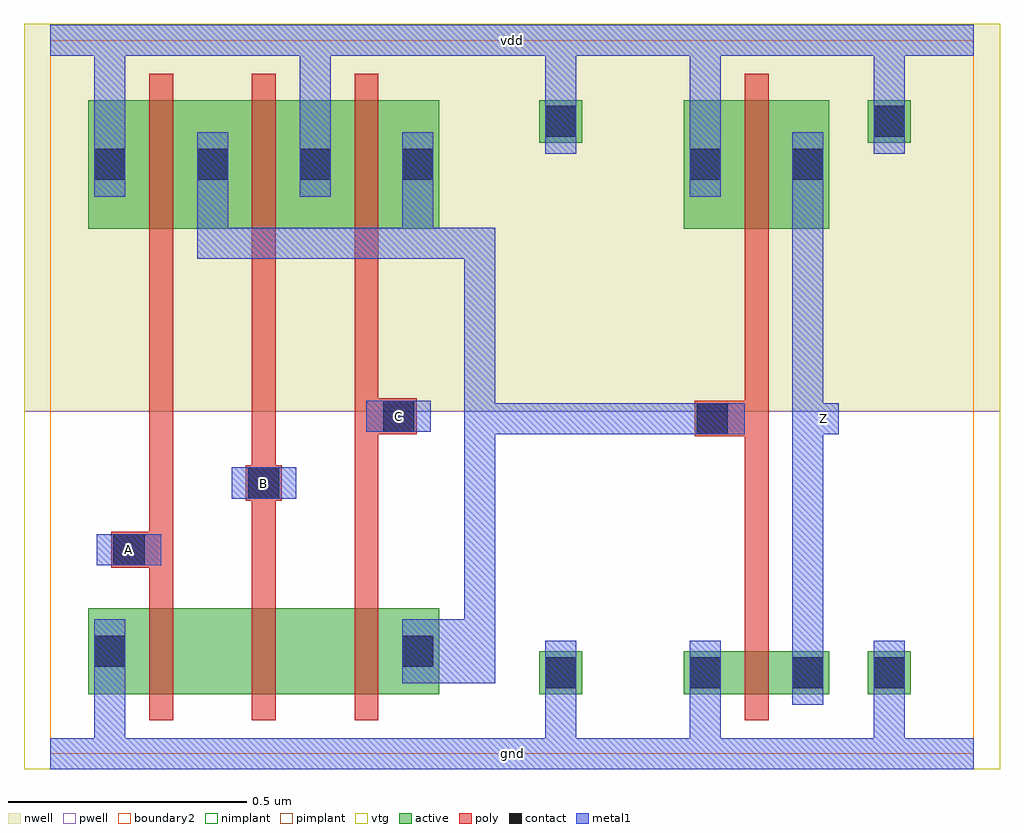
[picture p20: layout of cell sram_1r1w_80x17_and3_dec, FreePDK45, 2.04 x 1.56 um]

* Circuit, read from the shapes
.subckt sram_1r1w_80x17_and3_dec A B C Z gnd vdd
M1 sram_1r1w_80x17_pnand3_0/sram_1r1w_80x17_nmos_m1_w0_180_sm1_dactive_3/D A gnd gnd nfet w=0.18u l=0.05u
M2 sram_1r1w_80x17_pnand3_0/sram_1r1w_80x17_nmos_m1_w0_180_sactive_dactive_4/D B sram_1r1w_80x17_pnand3_0/sram_1r1w_80x17_nmos_m1_w0_180_sm1_dactive_3/D gnd nfet w=0.18u l=0.05u
M3 sram_1r1w_80x17_pinv_1/A C sram_1r1w_80x17_pnand3_0/sram_1r1w_80x17_nmos_m1_w0_180_sactive_dactive_4/D gnd nfet w=0.18u l=0.05u
M4 Z sram_1r1w_80x17_pinv_1/A gnd gnd nfet w=0.09u l=0.05u
M5 sram_1r1w_80x17_pinv_1/A A vdd vdd pfet w=0.27u l=0.05u
M6 vdd B sram_1r1w_80x17_pinv_1/A vdd pfet w=0.27u l=0.05u
M7 sram_1r1w_80x17_pinv_1/A C vdd vdd pfet w=0.27u l=0.05u
M8 Z sram_1r1w_80x17_pinv_1/A vdd vdd pfet w=0.27u l=0.05u
.ends

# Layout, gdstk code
import gdstk
lib = gdstk.Library(unit=1e-6, precision=5e-10)
def R(c, l, rs):  # rectangles x0, y0, x1, y1
    for r in rs: c.add(gdstk.rectangle(r[:2], r[2:], *l))
def A(c, l, x, y, w, h, nx, ny, dx, dy):  # array of equal rectangles
    R(c, l, [(x+i*dx, y+j*dy, x+i*dx+w, y+j*dy+h) for i in range(nx) for j in range(ny)])
active = (1, 0)
pwell = (2, 0)
nwell = (3, 0)
nimplant = (4, 0)
pimplant = (5, 0)
vtg = (6, 0)
poly = (9, 0)
contact = (10, 0)
metal1 = (11, 0)
boundary2 = (239, 0)

sram_1r1w_80x17_contact_ = lib.new_cell('sram_1r1w_80x17_contact_11')
R(sram_1r1w_80x17_contact_, active, [(0,0.0225,0.09,0.1125)])
R(sram_1r1w_80x17_contact_, nwell, [(-0.055,-0.0325,0.145,0.1675)])
R(sram_1r1w_80x17_contact_, pimplant, [(0,0.0225,0.09,0.1125)])
R(sram_1r1w_80x17_contact_, contact, [(0.0125,0.035,0.0775,0.1)])
R(sram_1r1w_80x17_contact_, metal1, [(0.0125,0,0.0775,0.135)])
R(sram_1r1w_80x17_contact_, boundary2, [(-0.055,-0.0325,0.145,0.1675)])

sram_1r1w_80x17_pmos_m1_ = lib.new_cell('sram_1r1w_80x17_pmos_m1_w0_270_sm1_dm1')
R(sram_1r1w_80x17_pmos_m1_, active, [(0,0,0.305,0.27)])
R(sram_1r1w_80x17_pmos_m1_, nwell, [(-0.08,-0.08,0.385,0.35)])
R(sram_1r1w_80x17_pmos_m1_, pimplant, [(0,0,0.305,0.27)])
R(sram_1r1w_80x17_pmos_m1_, vtg, [(-0.08,-0.08,0.385,0.35)])
R(sram_1r1w_80x17_pmos_m1_, poly, [(0.1275,-0.055,0.1775,0.325), (0.1275,-0.055,0.1775,0.325)])
R(sram_1r1w_80x17_pmos_m1_, metal1, [(0.0125,0.0675,0.0775,0.2025), (0.2275,0.0675,0.2925,0.2025)])
R(sram_1r1w_80x17_pmos_m1_, boundary2, [(-0.08,-0.08,0.385,0.35)])
sram_1r1w_80x17_pmos_m1_.add(gdstk.Reference(sram_1r1w_80x17_contact_, (0,0.0675)))
sram_1r1w_80x17_pmos_m1_.add(gdstk.Reference(sram_1r1w_80x17_contact_, (0.215,0.0675)))
sram_1r1w_80x17_pmos_m1_.add(gdstk.Label('G', (0.1525,0.135), layer=9, texttype=0))
sram_1r1w_80x17_pmos_m1_.add(gdstk.Label('S', (0.045,0.135), layer=11, texttype=0))
sram_1r1w_80x17_pmos_m1_.add(gdstk.Label('D', (0.26,0.135), layer=11, texttype=0))

c_sram_1r1w_80x17_contact_ = lib.new_cell('sram_1r1w_80x17_contact_10')
R(c_sram_1r1w_80x17_contact_, active, [(0,0.0225,0.09,0.1125)])
R(c_sram_1r1w_80x17_contact_, pwell, [(-0.055,-0.0325,0.145,0.1675)])
R(c_sram_1r1w_80x17_contact_, nimplant, [(0,0.0225,0.09,0.1125)])
R(c_sram_1r1w_80x17_contact_, contact, [(0.0125,0.035,0.0775,0.1)])
R(c_sram_1r1w_80x17_contact_, metal1, [(0.0125,0,0.0775,0.135)])
R(c_sram_1r1w_80x17_contact_, boundary2, [(-0.055,-0.0325,0.145,0.1675)])

sram_1r1w_80x17_nmos_m1_ = lib.new_cell('sram_1r1w_80x17_nmos_m1_w0_180_sm1_dactive')
R(sram_1r1w_80x17_nmos_m1_, active, [(0,0,0.305,0.18), (0.215,0.045,0.305,0.135)])
R(sram_1r1w_80x17_nmos_m1_, pwell, [(-0.08,-0.08,0.385,0.26)])
R(sram_1r1w_80x17_nmos_m1_, nimplant, [(0,0,0.305,0.18)])
R(sram_1r1w_80x17_nmos_m1_, vtg, [(-0.08,-0.08,0.385,0.26)])
R(sram_1r1w_80x17_nmos_m1_, poly, [(0.1275,-0.055,0.1775,0.235), (0.1275,-0.055,0.1775,0.235)])
R(sram_1r1w_80x17_nmos_m1_, metal1, [(0.0125,0.0225,0.0775,0.1575)])
R(sram_1r1w_80x17_nmos_m1_, boundary2, [(-0.08,-0.08,0.385,0.26)])
sram_1r1w_80x17_nmos_m1_.add(gdstk.Reference(c_sram_1r1w_80x17_contact_, (0,0.0225)))
sram_1r1w_80x17_nmos_m1_.add(gdstk.Label('G', (0.1525,0.09), layer=9, texttype=0))
sram_1r1w_80x17_nmos_m1_.add(gdstk.Label('S', (0.045,0.09), layer=11, texttype=0))
sram_1r1w_80x17_nmos_m1_.add(gdstk.Label('D', (0.26,0.09), layer=1, texttype=0))

c_sram_1r1w_80x17_nmos_m1_ = lib.new_cell('sram_1r1w_80x17_nmos_m1_w0_180_sactive_dactive')
R(c_sram_1r1w_80x17_nmos_m1_, active, [(0,0,0.305,0.18), (0,0.045,0.09,0.135), (0.215,0.045,0.305,0.135)])
R(c_sram_1r1w_80x17_nmos_m1_, pwell, [(-0.08,-0.08,0.385,0.26)])
R(c_sram_1r1w_80x17_nmos_m1_, nimplant, [(0,0,0.305,0.18)])
R(c_sram_1r1w_80x17_nmos_m1_, vtg, [(-0.08,-0.08,0.385,0.26)])
R(c_sram_1r1w_80x17_nmos_m1_, poly, [(0.1275,-0.055,0.1775,0.235), (0.1275,-0.055,0.1775,0.235)])
R(c_sram_1r1w_80x17_nmos_m1_, boundary2, [(-0.08,-0.08,0.385,0.26)])
c_sram_1r1w_80x17_nmos_m1_.add(gdstk.Label('G', (0.1525,0.09), layer=9, texttype=0))
c_sram_1r1w_80x17_nmos_m1_.add(gdstk.Label('S', (0.045,0.09), layer=1, texttype=0))
c_sram_1r1w_80x17_nmos_m1_.add(gdstk.Label('D', (0.26,0.09), layer=1, texttype=0))

c_sram_1r1w_80x17_nmos_m1__ = lib.new_cell('sram_1r1w_80x17_nmos_m1_w0_180_sactive_dm1')
R(c_sram_1r1w_80x17_nmos_m1__, active, [(0,0,0.305,0.18), (0,0.045,0.09,0.135)])
R(c_sram_1r1w_80x17_nmos_m1__, pwell, [(-0.08,-0.08,0.385,0.26)])
R(c_sram_1r1w_80x17_nmos_m1__, nimplant, [(0,0,0.305,0.18)])
R(c_sram_1r1w_80x17_nmos_m1__, vtg, [(-0.08,-0.08,0.385,0.26)])
R(c_sram_1r1w_80x17_nmos_m1__, poly, [(0.1275,-0.055,0.1775,0.235), (0.1275,-0.055,0.1775,0.235)])
R(c_sram_1r1w_80x17_nmos_m1__, metal1, [(0.2275,0.0225,0.2925,0.1575)])
R(c_sram_1r1w_80x17_nmos_m1__, boundary2, [(-0.08,-0.08,0.385,0.26)])
c_sram_1r1w_80x17_nmos_m1__.add(gdstk.Reference(c_sram_1r1w_80x17_contact_, (0.215,0.0225)))
c_sram_1r1w_80x17_nmos_m1__.add(gdstk.Label('G', (0.1525,0.09), layer=9, texttype=0))
c_sram_1r1w_80x17_nmos_m1__.add(gdstk.Label('S', (0.045,0.09), layer=1, texttype=0))
c_sram_1r1w_80x17_nmos_m1__.add(gdstk.Label('D', (0.26,0.09), layer=11, texttype=0))

c_sram_1r1w_80x17_contact__ = lib.new_cell('sram_1r1w_80x17_contact_12')
R(c_sram_1r1w_80x17_contact__, active, [(0,0.0225,0.09,0.1125)])
R(c_sram_1r1w_80x17_contact__, nwell, [(-0.055,-0.0325,0.145,0.1675)])
R(c_sram_1r1w_80x17_contact__, nimplant, [(0,0.0225,0.09,0.1125)])
R(c_sram_1r1w_80x17_contact__, contact, [(0.0125,0.035,0.0775,0.1)])
R(c_sram_1r1w_80x17_contact__, metal1, [(0.0125,0,0.0775,0.135)])
R(c_sram_1r1w_80x17_contact__, boundary2, [(-0.055,-0.0325,0.145,0.1675)])

c_sram_1r1w_80x17_contact___ = lib.new_cell('sram_1r1w_80x17_contact_13')
R(c_sram_1r1w_80x17_contact___, active, [(0,0.0225,0.09,0.1125)])
R(c_sram_1r1w_80x17_contact___, pwell, [(-0.055,-0.0325,0.145,0.1675)])
R(c_sram_1r1w_80x17_contact___, pimplant, [(0,0.0225,0.09,0.1125)])
R(c_sram_1r1w_80x17_contact___, contact, [(0.0125,0.035,0.0775,0.1)])
R(c_sram_1r1w_80x17_contact___, metal1, [(0.0125,0,0.0775,0.135)])
R(c_sram_1r1w_80x17_contact___, boundary2, [(-0.055,-0.0325,0.145,0.1675)])

c_sram_1r1w_80x17_contact____ = lib.new_cell('sram_1r1w_80x17_contact_14')
R(c_sram_1r1w_80x17_contact____, poly, [(0.03,0,0.105,0.075)])
R(c_sram_1r1w_80x17_contact____, contact, [(0.035,0.005,0.1,0.07)])
R(c_sram_1r1w_80x17_contact____, metal1, [(0,0.005,0.135,0.07)])
R(c_sram_1r1w_80x17_contact____, boundary2, [(0,0,0.135,0.075)])

sram_1r1w_80x17_pnand3 = lib.new_cell('sram_1r1w_80x17_pnand3')
R(sram_1r1w_80x17_pnand3, pwell, [(-0.055,-0.0325,1.3025,0.7175)])
R(sram_1r1w_80x17_pnand3, nwell, [(-0.055,0.7175,1.3025,1.53)])
R(sram_1r1w_80x17_pnand3, vtg, [(-0.055,-0.0325,1.3025,0.7175), (-0.055,0.7175,1.3025,1.53)])
A(sram_1r1w_80x17_pnand3, poly, 0.2075, 0.36, 0.05, 0.685, 3, 1, 0.215, 0)
R(sram_1r1w_80x17_pnand3, poly, [(0.165,0.39,0.2075,0.465), (0.4225,0.53,0.4475,0.605), (0.6375,0.67,0.73,0.745)])
R(sram_1r1w_80x17_pnand3, metal1, [(0,-0.0325,1.2475,0.0325), (0.0925,-0.0325,0.1575,0.1475), (1.0375,0,1.1025,0.17), (0.77,0.1475,0.9,0.2825), (0.8675,0.1475,0.9325,1.07), (0.0975,0.395,0.2325,0.46), (0.38,0.535,0.515,0.6), (0.6625,0.675,0.7975,0.74), (0.3075,1.0375,0.3725,1.1025), (0.34,1.0375,0.9,1.1025), (0.7375,1.0375,0.8025,1.1025), (0.77,1.0375,0.9,1.1025), (0.8675,1.0375,0.9325,1.1025), (0.3075,1.07,0.3725,1.235), (0.7375,1.07,0.8025,1.235), (0.0925,1.1675,0.1575,1.5275), (0.5225,1.1675,0.5875,1.5275), (1.0375,1.325,1.1025,1.495), (0,1.4625,1.2475,1.5275)])
R(sram_1r1w_80x17_pnand3, boundary2, [(0,0,1.2475,1.495), (0,0,1.2475,1.495)])
sram_1r1w_80x17_pnand3.add(gdstk.Reference(sram_1r1w_80x17_pmos_m1_, (0.08,1.1)))
sram_1r1w_80x17_pnand3.add(gdstk.Reference(sram_1r1w_80x17_pmos_m1_, (0.295,1.1)))
sram_1r1w_80x17_pnand3.add(gdstk.Reference(sram_1r1w_80x17_pmos_m1_, (0.51,1.1)))
sram_1r1w_80x17_pnand3.add(gdstk.Reference(sram_1r1w_80x17_nmos_m1_, (0.08,0.125)))
sram_1r1w_80x17_pnand3.add(gdstk.Reference(c_sram_1r1w_80x17_nmos_m1_, (0.295,0.125)))
sram_1r1w_80x17_pnand3.add(gdstk.Reference(c_sram_1r1w_80x17_nmos_m1__, (0.51,0.125)))
sram_1r1w_80x17_pnand3.add(gdstk.Reference(c_sram_1r1w_80x17_contact__, (1.025,1.2575)))
sram_1r1w_80x17_pnand3.add(gdstk.Reference(c_sram_1r1w_80x17_contact___, (1.025,0.1025)))
sram_1r1w_80x17_pnand3.add(gdstk.Reference(c_sram_1r1w_80x17_contact____, (0.0975,0.39)))
sram_1r1w_80x17_pnand3.add(gdstk.Reference(c_sram_1r1w_80x17_contact____, (0.38,0.53)))
sram_1r1w_80x17_pnand3.add(gdstk.Reference(c_sram_1r1w_80x17_contact____, (0.6625,0.67)))
sram_1r1w_80x17_pnand3.add(gdstk.Label('A', (0.165,0.4275), layer=11, texttype=0))
sram_1r1w_80x17_pnand3.add(gdstk.Label('B', (0.4475,0.5675), layer=11, texttype=0))
sram_1r1w_80x17_pnand3.add(gdstk.Label('C', (0.73,0.7075), layer=11, texttype=0))
sram_1r1w_80x17_pnand3.add(gdstk.Label('Z', (0.9,1.07), layer=11, texttype=0))
sram_1r1w_80x17_pnand3.add(gdstk.Label('gnd', (0.624,0), layer=11, texttype=0))
sram_1r1w_80x17_pnand3.add(gdstk.Label('vdd', (0.624,1.495), layer=11, texttype=0))

c_sram_1r1w_80x17_pmos_m1_ = lib.new_cell('sram_1r1w_80x17_pmos_m1_w0_270_sm1_dm1_da_p')
R(c_sram_1r1w_80x17_pmos_m1_, active, [(0,0,0.305,0.27)])
R(c_sram_1r1w_80x17_pmos_m1_, nwell, [(-0.08,-0.08,0.385,0.35)])
R(c_sram_1r1w_80x17_pmos_m1_, pimplant, [(0,0,0.305,0.27)])
R(c_sram_1r1w_80x17_pmos_m1_, vtg, [(-0.08,-0.08,0.385,0.35)])
R(c_sram_1r1w_80x17_pmos_m1_, poly, [(0.1275,-0.055,0.1775,0.325), (0.1275,-0.055,0.1775,0.325)])
R(c_sram_1r1w_80x17_pmos_m1_, metal1, [(0.0125,0.0675,0.0775,0.2025), (0.2275,0.0675,0.2925,0.2025)])
R(c_sram_1r1w_80x17_pmos_m1_, boundary2, [(-0.08,-0.08,0.385,0.35)])
c_sram_1r1w_80x17_pmos_m1_.add(gdstk.Reference(sram_1r1w_80x17_contact_, (0,0.0675)))
c_sram_1r1w_80x17_pmos_m1_.add(gdstk.Reference(sram_1r1w_80x17_contact_, (0.215,0.0675)))
c_sram_1r1w_80x17_pmos_m1_.add(gdstk.Label('G', (0.1525,0.135), layer=9, texttype=0))
c_sram_1r1w_80x17_pmos_m1_.add(gdstk.Label('S', (0.045,0.135), layer=11, texttype=0))
c_sram_1r1w_80x17_pmos_m1_.add(gdstk.Label('D', (0.26,0.135), layer=11, texttype=0))

c_sram_1r1w_80x17_nmos_m1___ = lib.new_cell('sram_1r1w_80x17_nmos_m1_w0_090_sm1_dm1_da_p')
R(c_sram_1r1w_80x17_nmos_m1___, active, [(0,0,0.305,0.09)])
R(c_sram_1r1w_80x17_nmos_m1___, pwell, [(-0.08,-0.08,0.385,0.17)])
R(c_sram_1r1w_80x17_nmos_m1___, nimplant, [(0,0,0.305,0.09)])
R(c_sram_1r1w_80x17_nmos_m1___, vtg, [(-0.08,-0.08,0.385,0.17)])
R(c_sram_1r1w_80x17_nmos_m1___, poly, [(0.1275,-0.055,0.1775,0.145), (0.1275,-0.055,0.1775,0.145)])
R(c_sram_1r1w_80x17_nmos_m1___, metal1, [(0.0125,-0.0225,0.0775,0.1125), (0.2275,-0.0225,0.2925,0.1125)])
R(c_sram_1r1w_80x17_nmos_m1___, boundary2, [(-0.08,-0.08,0.385,0.17)])
c_sram_1r1w_80x17_nmos_m1___.add(gdstk.Reference(c_sram_1r1w_80x17_contact_, (0,-0.0225)))
c_sram_1r1w_80x17_nmos_m1___.add(gdstk.Reference(c_sram_1r1w_80x17_contact_, (0.215,-0.0225)))
c_sram_1r1w_80x17_nmos_m1___.add(gdstk.Label('G', (0.1525,0.045), layer=9, texttype=0))
c_sram_1r1w_80x17_nmos_m1___.add(gdstk.Label('S', (0.045,0.045), layer=11, texttype=0))
c_sram_1r1w_80x17_nmos_m1___.add(gdstk.Label('D', (0.26,0.045), layer=11, texttype=0))

sram_1r1w_80x17_pinv = lib.new_cell('sram_1r1w_80x17_pinv')
R(sram_1r1w_80x17_pinv, pwell, [(-0.055,-0.0325,0.7425,0.7175)])
R(sram_1r1w_80x17_pinv, nwell, [(-0.055,0.7175,0.7425,1.53)])
R(sram_1r1w_80x17_pinv, vtg, [(-0.055,-0.0325,0.7425,0.7175), (-0.055,0.7175,0.7425,1.53)])
R(sram_1r1w_80x17_pinv, poly, [(0.2075,0.27,0.2575,1.045), (0.14,0.665,0.2075,0.74)])
R(sram_1r1w_80x17_pinv, metal1, [(0,-0.0325,0.6875,0.0325), (0.0925,-0.0325,0.1575,0.1025), (0.4775,0,0.5425,0.17), (0.3075,0.1025,0.3725,1.3025), (0.0725,0.67,0.2075,0.735), (0.34,0.67,0.405,0.735), (0.0925,1.1675,0.1575,1.5275), (0.4775,1.325,0.5425,1.495), (0,1.4625,0.6875,1.5275)])
R(sram_1r1w_80x17_pinv, boundary2, [(0,0,0.6875,1.495), (0,0,0.6875,1.495)])
sram_1r1w_80x17_pinv.add(gdstk.Reference(c_sram_1r1w_80x17_pmos_m1_, (0.08,1.1)))
sram_1r1w_80x17_pinv.add(gdstk.Reference(c_sram_1r1w_80x17_nmos_m1___, (0.08,0.125)))
sram_1r1w_80x17_pinv.add(gdstk.Reference(c_sram_1r1w_80x17_contact__, (0.465,1.2575)))
sram_1r1w_80x17_pinv.add(gdstk.Reference(c_sram_1r1w_80x17_contact___, (0.465,0.1025)))
sram_1r1w_80x17_pinv.add(gdstk.Reference(c_sram_1r1w_80x17_contact____, (0.0725,0.665)))
sram_1r1w_80x17_pinv.add(gdstk.Label('A', (0.14,0.7025), layer=11, texttype=0))
sram_1r1w_80x17_pinv.add(gdstk.Label('Z', (0.3725,0.7025), layer=11, texttype=0))
sram_1r1w_80x17_pinv.add(gdstk.Label('gnd', (0.344,0), layer=11, texttype=0))
sram_1r1w_80x17_pinv.add(gdstk.Label('vdd', (0.344,1.495), layer=11, texttype=0))

sram_1r1w_80x17_and3_dec = lib.new_cell('sram_1r1w_80x17_and3_dec')
R(sram_1r1w_80x17_and3_dec, metal1, [(0,-0.0325,1.935,0.0325), (0.0975,0.395,0.2325,0.46), (0.38,0.535,0.515,0.6), (0.8675,0.67,0.9325,0.735), (0.9,0.67,1.3875,0.735), (1.5875,0.67,1.6525,0.735), (0.6625,0.675,0.7975,0.74), (0.8675,0.7025,0.9325,1.07), (0,1.4625,1.935,1.5275)])
R(sram_1r1w_80x17_and3_dec, boundary2, [(0,0,1.935,1.495)])
sram_1r1w_80x17_and3_dec.add(gdstk.Reference(sram_1r1w_80x17_pnand3, (0,0)))
sram_1r1w_80x17_and3_dec.add(gdstk.Reference(sram_1r1w_80x17_pinv, (1.2475,0)))
sram_1r1w_80x17_and3_dec.add(gdstk.Label('Z', (1.62,0.7025), layer=11, texttype=0))
sram_1r1w_80x17_and3_dec.add(gdstk.Label('A', (0.165,0.4275), layer=11, texttype=0))
sram_1r1w_80x17_and3_dec.add(gdstk.Label('B', (0.4475,0.5675), layer=11, texttype=0))
sram_1r1w_80x17_and3_dec.add(gdstk.Label('C', (0.73,0.7075), layer=11, texttype=0))
sram_1r1w_80x17_and3_dec.add(gdstk.Label('gnd', (0.9675,0), layer=11, texttype=0))
sram_1r1w_80x17_and3_dec.add(gdstk.Label('vdd', (0.9675,1.495), layer=11, texttype=0))

lib.write_gds('sram_1r1w_80x17_and3_dec.gds')
